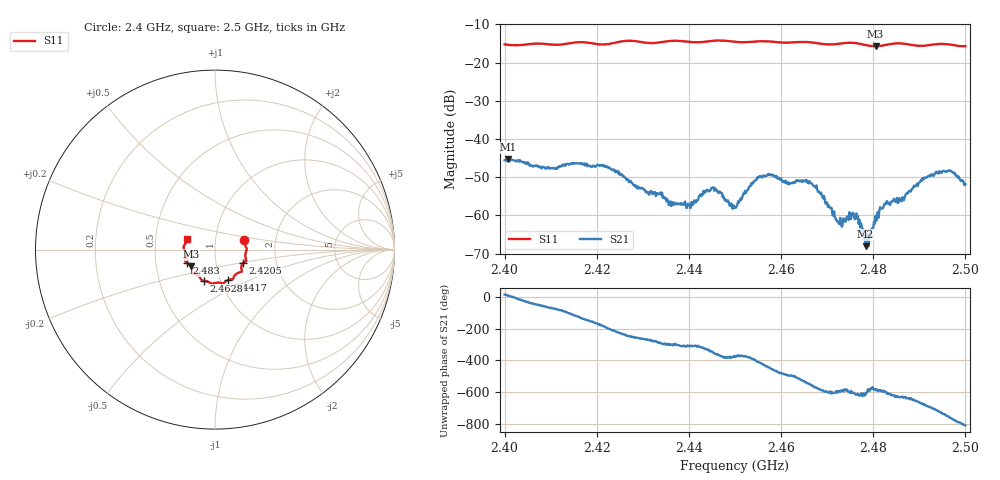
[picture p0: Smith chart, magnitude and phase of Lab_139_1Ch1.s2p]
# Hz S RI R 50
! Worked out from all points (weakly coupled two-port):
!   601 points, 2.4 GHz to 2.5 GHz, reference 50 ohm
!   highest |S21| = -45.26 dB at 2.4007 GHz (marker M1); lowest = -68.0 dB at 2.4783 GHz (marker M2)
!   lowest |S11| = -15.7 dB at 2.4805 GHz (marker M3), VSWR 1.39, Z = 37.5 - j7.1 ohm
!   |S11| at or under -10 dB: start of sweep to end of sweep
!   S12 and S22 are empty: the file has one direction only
!   S11 on the Smith chart (normalised r, x): 2.4 GHz: 1.38, +0.16; 2.4205 GHz: 1.35, -0.21; 2.4417 GHz: 1.09, -0.38; 2.4628 GHz: 0.83, -0.30; 2.483 GHz: 0.73, -0.11; 2.5 GHz: 0.73, +0.09
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2.4e9  0.1637 0.056  0.00509 0.00147  0 0  0 0
2.400667e9  0.1639 0.0497  0.00537 0.000977  0 0  0 0
2.410833e9  0.1703 -0.0195  0.00126 -0.00392  0 0  0 0
2.416667e9  0.174 -0.0633  -0.00327 -0.00354  0 0  0 0
2.4205e9  0.1554 -0.0767  -0.00453 -0.000418  0 0  0 0
2.433333e9  0.1073 -0.1476  0.000498 0.00183  0 0  0 0
2.436167e9  0.1011 -0.1635  0.000668 0.00115  0 0  0 0
2.441667e9  0.072 -0.17  0.00109 0.00114  0 0  0 0
2.445333e9  0.0494 -0.1868  0.00232 0.000308  0 0  0 0
2.45e9  0.0288 -0.1853  0.00118 -0.000428  0 0  0 0
2.455167e9  -0.0108 -0.1897  0.00195 -0.00248  0 0  0 0
2.462833e9  -0.0627 -0.1733  -0.0022 -0.00152  0 0  0 0
2.466667e9  -0.0773 -0.1666  -0.00245 0.000888  0 0  0 0
2.472167e9  -0.1119 -0.1352  -0.000354 0.000775  0 0  0 0
2.476167e9  -0.1271 -0.1276  -0.000219 0.000907  0 0  0 0
2.478333e9  -0.1272 -0.1128  -0.000111 0.00038  0 0  0 0
2.4805e9  -0.1352 -0.0922  -0.000642 0.000744  0 0  0 0
2.483e9  -0.1544 -0.0751  -0.000484 0.00146  0 0  0 0
2.483333e9  -0.1564 -0.0738  -0.000396 0.00135  0 0  0 0
2.493833e9  -0.1746 0.00829  0.00361 0.000252  0 0  0 0
2.497167e9  -0.168 0.0271  0.00231 -0.00283  0 0  0 0
2.5e9  -0.1537 0.0575  -9.01e-05 -0.00256  0 0  0 0
